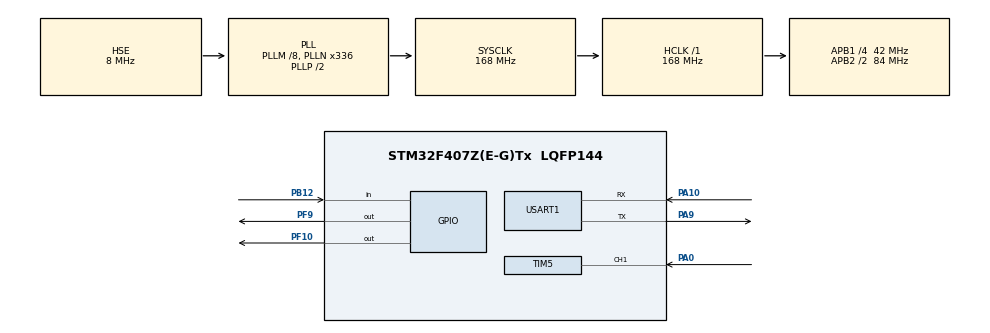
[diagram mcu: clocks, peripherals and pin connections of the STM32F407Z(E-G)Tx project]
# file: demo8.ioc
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Mcu.Family=STM32F4
Mcu.Name=STM32F407Z(E-G)Tx
Mcu.Package=LQFP144
NVIC.PriorityGroup=NVIC_PRIORITYGROUP_2
NVIC.TIM5_IRQn=true\:2\:3\:true\:false\:true\:true\:true
NVIC.USART1_IRQn=true\:2\:2\:true\:false\:true\:true\:true
PA0-WKUP.GPIO_ModeDefaultPP=GPIO_MODE_AF_PP
PA0-WKUP.GPIO_PuPd=GPIO_PULLDOWN
PA0-WKUP.GPIO_Speed=GPIO_SPEED_FREQ_HIGH
PA0-WKUP.Signal=S_TIM5_CH1
PA10.Mode=Asynchronous
PA10.Signal=USART1_RX
PA9.Mode=Asynchronous
PA9.Signal=USART1_TX
PB12.GPIO_PuPd=GPIO_PULLDOWN
PB12.Signal=GPIO_Input
PF10.GPIO_PuPd=GPIO_PULLUP
PF10.Signal=GPIO_Output
PF9.GPIO_ModeDefaultOutputPP=GPIO_MODE_OUTPUT_PP
PF9.GPIO_PuPd=GPIO_PULLUP
PF9.Signal=GPIO_Output
PH0-OSC_IN.Mode=HSE-External-Oscillator
PH0-OSC_IN.Signal=RCC_OSC_IN
PH1-OSC_OUT.Mode=HSE-External-Oscillator
PH1-OSC_OUT.Signal=RCC_OSC_OUT
ProjectManager.HeapSize=0x200
ProjectManager.StackSize=0x400
ProjectManager.TargetToolchain=SW4STM32
RCC.48MHZClocksFreq_Value=84000000
RCC.AHBFreq_Value=168000000
RCC.APB1CLKDivider=RCC_HCLK_DIV4
RCC.APB1Freq_Value=42000000
RCC.APB1TimFreq_Value=84000000
RCC.APB2CLKDivider=RCC_HCLK_DIV2
RCC.APB2Freq_Value=84000000
RCC.APB2TimFreq_Value=168000000
RCC.CortexFreq_Value=168000000
RCC.HCLKFreq_Value=168000000
RCC.HSE_VALUE=8000000
RCC.HSI_VALUE=16000000
RCC.LSE_VALUE=32768
RCC.PLLM=8
RCC.PLLN=336
RCC.PLLSourceVirtual=RCC_PLLSOURCE_HSE
RCC.SYSCLKFreq_VALUE=168000000
RCC.SYSCLKSource=RCC_SYSCLKSOURCE_PLLCLK
RCC.VCOOutputFreq_Value=336000000
SH.S_TIM5_CH1.0=TIM5_CH1,Input_Capture1_from_TI1
TIM5.AutoReloadPreload=TIM_AUTORELOAD_PRELOAD_ENABLE
TIM5.Channel-Input_Capture1_from_TI1=TIM_CHANNEL_1
TIM5.ICFilter_CH1=1
TIM5.ICPolarity_CH1=TIM_INPUTCHANNELPOLARITY_RISING
TIM5.ICPrescaler-Input_Capture1_from_TI1=TIM_ICPSC_DIV1
TIM5.Prescaler=83
USART1.VirtualMode=VM_ASYNC
board=custom

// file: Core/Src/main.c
/* USER CODE BEGIN Header */
/**
  ******************************************************************************
  * @file           : main.c
  * @brief          : Main program body
  ******************************************************************************
  * @attention
  *
  * <h2><center>&copy; Copyright (c) 2021 STMicroelectronics.
  * All rights reserved.</center></h2>
  *
  * This software component is licensed by ST under BSD 3-Clause license,
  * the "License"; You may not use this file except in compliance with the
  * License. You may obtain a copy of the License at:
  *                        opensource.org/licenses/BSD-3-Clause
  *
  ******************************************************************************
  */
/* USER CODE END Header */
#include "main.h"
#include "tim.h"
#include "usart.h"
#include "gpio.h"

/* USER CODE BEGIN Includes */
#include "stdio.h"
#ifdef __GNUC__
#define PUTCHAR_PROTOTYPE int __io_putchar(int ch)
#else
#define PUTCHAR_PROTOTYPE int fputc(int ch, FILE *f)
#endif

PUTCHAR_PROTOTYPE
{
    HAL_UART_Transmit(&huart1,(uint8_t *)&ch,1,0xFFFF);//阻塞方式打印
    return ch;
}

/* USER CODE END Includes */

void SystemClock_Config(void);

/* USER CODE BEGIN 0 */
extern uint8_t tim5_capture_state;     //捕获状态标志
extern uint32_t tim5_capture_value;     //输入捕获值
/* USER CODE END 0 */

#pragma clang diagnostic push
#pragma ide diagnostic ignored "EndlessLoop"
int main(void)
{
  /* USER CODE BEGIN 1 */
    volatile long long int temp = 0;
  /* USER CODE END 1 */

  /* MCU Configuration--------------------------------------------------------*/

  /* Reset of all peripherals, Initializes the Flash interface and the Systick. */
  HAL_Init();

  /* Configure the system clock */
  SystemClock_Config();

  /* Initialize all configured peripherals */
  MX_GPIO_Init();
  MX_USART1_UART_Init();
  MX_TIM5_Init();

  /* Infinite loop */
  /* USER CODE BEGIN WHILE */
  while (1)
  {
     if (tim5_capture_state & 0x80){
         temp = (tim5_capture_state & 0x3f);
         temp *= 0xffffffff;
         temp += tim5_capture_value;
         printf("HIGHT: %11d us\r\n",temp);
         tim5_capture_state = 0;
     }
    /* USER CODE END WHILE */

  }
}
#pragma clang diagnostic pop

void SystemClock_Config(void)
{
  RCC_OscInitTypeDef RCC_OscInitStruct = {0};
  RCC_ClkInitTypeDef RCC_ClkInitStruct = {0};

  /** Configure the main internal regulator output voltage
  */
  __HAL_RCC_PWR_CLK_ENABLE();
  __HAL_PWR_VOLTAGESCALING_CONFIG(PWR_REGULATOR_VOLTAGE_SCALE1);
  /** Initializes the RCC Oscillators according to the specified parameters
  * in the RCC_OscInitTypeDef structure.
  */
  RCC_OscInitStruct.OscillatorType = RCC_OSCILLATORTYPE_HSE;
  RCC_OscInitStruct.HSEState = RCC_HSE_ON;
  RCC_OscInitStruct.PLL.PLLState = RCC_PLL_ON;
  RCC_OscInitStruct.PLL.PLLSource = RCC_PLLSOURCE_HSE;
  RCC_OscInitStruct.PLL.PLLM = 8;
  RCC_OscInitStruct.PLL.PLLN = 336;
  RCC_OscInitStruct.PLL.PLLP = RCC_PLLP_DIV2;
  RCC_OscInitStruct.PLL.PLLQ = 4;
  if (HAL_RCC_OscConfig(&RCC_OscInitStruct) != HAL_OK)
  {
    Error_Handler();
  }
  /** Initializes the CPU, AHB and APB buses clocks
  */
  RCC_ClkInitStruct.ClockType = RCC_CLOCKTYPE_HCLK|RCC_CLOCKTYPE_SYSCLK
                              |RCC_CLOCKTYPE_PCLK1|RCC_CLOCKTYPE_PCLK2;
  RCC_ClkInitStruct.SYSCLKSource = RCC_SYSCLKSOURCE_PLLCLK;
  RCC_ClkInitStruct.AHBCLKDivider = RCC_SYSCLK_DIV1;
  RCC_ClkInitStruct.APB1CLKDivider = RCC_HCLK_DIV4;
  RCC_ClkInitStruct.APB2CLKDivider = RCC_HCLK_DIV2;

  if (HAL_RCC_ClockConfig(&RCC_ClkInitStruct, FLASH_LATENCY_5) != HAL_OK)
  {
    Error_Handler();
  }
}

void Error_Handler(void)
{
  __disable_irq();
  while (1)
  {
  }
}

/************************ (C) COPYRIGHT STMicroelectronics *****END OF FILE****/
